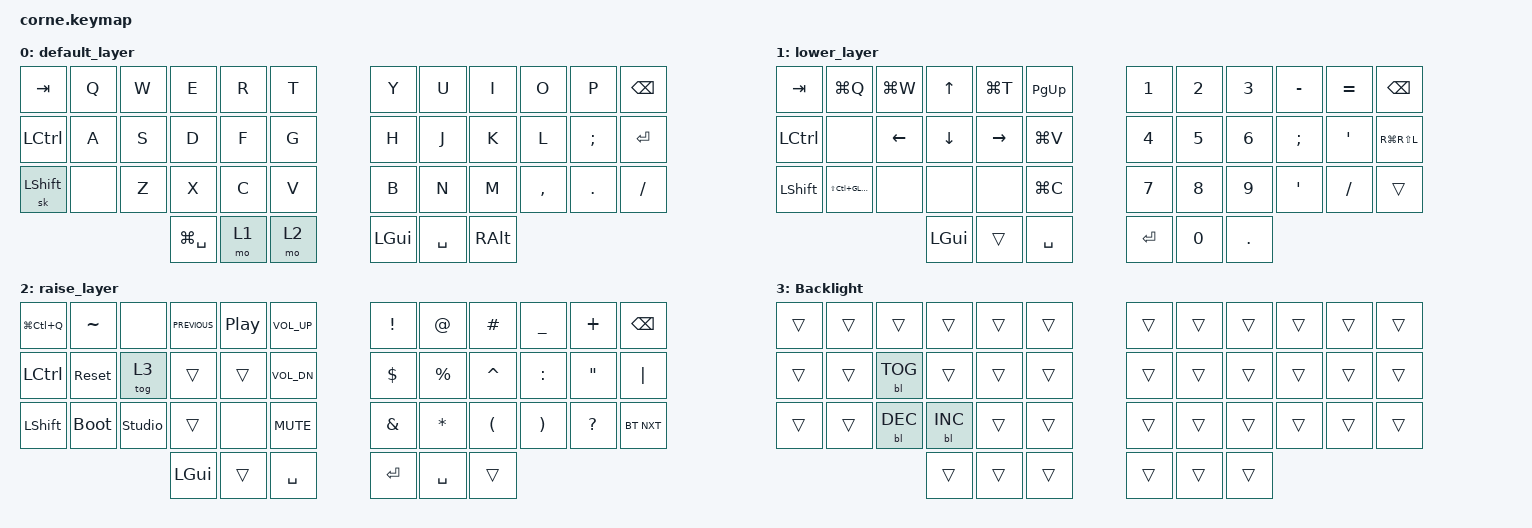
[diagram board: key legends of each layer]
/*
 * Copyright (c) 2020 The ZMK Contributors
 *
 * SPDX-License-Identifier: MIT
 */

#include <behaviors.dtsi>
#include <dt-bindings/zmk/backlight.h>
#include <dt-bindings/zmk/bt.h>
#include <dt-bindings/zmk/keys.h>

&led_strip { chain-length = <27>; };

&mmv {
    time-to-max-speed-ms = <150>;
    acceleration-exponent = <2>;
};

&msc { acceleration-exponent = <1>; };

&mt { tapping-term-ms = <250>; };

/ {
    combos {
        compatible = "zmk,combos";

        Escape {
            bindings = <&kp ESC>;
            key-positions = <1 0>;
        };
    };

    keymap {
        compatible = "zmk,keymap";

        default_layer {
            // -----------------------------------------------------------------------------------------
            // |  TAB |  Q  |  W  |  E  |  R  |  T  |   |  Y  |  U   |  I  |  O  |  P  | BKSP |
            // | CTRL |  A  |  S  |  D  |  F  |  G  |   |  H  |  J   |  K  |  L  |  ;  |  '   |
            // | SHFT |  Z  |  X  |  C  |  V  |  B  |   |  N  |  M   |  ,  |  .  |  /  | SHFT |
            //                    | GUI | LWR | ENT |   | SPC | RSE  | ALT |

            bindings = <
&kp TAB    &kp Q  &kp W  &kp E          &kp R  &kp T    &kp Y         &kp U      &kp I     &kp O      &kp P       &kp BSPC
&kp LCTRL  &kp A  &kp S  &kp D          &kp F  &kp G    &kp H         &kp J      &kp K     &kp L      &kp SEMI    &kp RET
&sk LSHFT  &none  &kp Z  &kp X          &kp C  &kp V    &kp B         &kp N      &kp M     &kp COMMA  &kp PERIOD  &kp SLASH
                         &kp LG(SPACE)  &mo 1  &mo 2    &kp LEFT_GUI  &kp SPACE  &kp RALT
            >;
        };

        lower_layer {
            // -----------------------------------------------------------------------------------------
            // |  TAB |  1    |  2  |  3  |  4  |  5  |   |  6  |  7  |  8  |  9  |  0  | BKSP |
            // | LCTRL| BTCLR | BT0 | BT1 | BT2 | BT3 |   | LFT | DWN |  UP | RGT |     |      |
            // | ESC  |       | HOME| PGUP| PGDN| END |   |     |     |     |     |     |      |
            //                      | GUI |     | SPC |   | ENT |     | ALT |

            bindings = <
&kp TAB         &kp LG(Q)          &kp LG(W)  &kp UP    &kp LG(T)  &kp PAGE_UP    &kp NUMBER_1  &kp NUMBER_2  &kp NUMBER_3  &kp MINUS      &kp EQUAL  &kp BSPC
&kp LCTRL       &none              &kp LEFT   &kp DOWN  &kp RIGHT  &kp LG(V)      &kp NUMBER_4  &kp NUMBER_5  &kp NUMBER_6  &kp SEMICOLON  &kp SQT    &kp RG(RS(L))
&kp LEFT_SHIFT  &kp LS(LC(GLOBE))  &none      &none     &none      &kp LG(C)      &kp N7        &kp N8        &kp N9        &kp SQT        &kp SLASH  &trans
                                              &kp LGUI  &trans     &kp SPACE      &kp RET       &kp NUMBER_0  &kp PERIOD
            >;
        };

        raise_layer {
            // -----------------------------------------------------------------------------------------
            // |  TAB |   !   |   @   |   #   |   $   |   %   |   |  ^  |  &  |  *  |  (  |  )  | BKSP |
            // | CTRL |RGB_TOG|RGB_HUI|RGB_SAI|RGB_VAI|       |   |  -  |  =  |  [  |  ]  |  \  |  `   |
            // | SHFT |RGB_MOD|RGB_HUD|RGB_SAD|RGB_VAD|QK_BOOT|   |  _  |  +  |  {  |  }  | "|" |  ~   |
            //                            | GUI |     |  SPC  |   | ENT |     | ALT |

            bindings = <
&kp LG(LC(Q))  &kp TILDE    &none           &kp C_PREVIOUS  &kp C_PLAY_PAUSE  &kp C_VOLUME_UP    &kp EXCLAMATION  &kp AT_SIGN   &kp HASH              &kp UNDERSCORE         &kp PLUS           &kp BSPC
&kp LCTRL      &sys_reset   &tog 3          &trans          &trans            &kp C_VOL_DN       &kp DOLLAR       &kp PERCENT   &kp CARET             &kp COLON              &kp DOUBLE_QUOTES  &kp PIPE
&kp LSHFT      &bootloader  &studio_unlock  &trans          &none             &kp K_MUTE         &kp AMPERSAND    &kp ASTERISK  &kp LEFT_PARENTHESIS  &kp RIGHT_PARENTHESIS  &kp QUESTION       &bt BT_NXT
                                            &kp LGUI        &trans            &kp SPACE          &kp RET          &kp SPACE     &trans
            >;
        };

        Backlight {
            bindings = <
&trans  &trans  &trans      &trans      &trans  &trans    &trans  &trans  &trans  &trans  &trans  &trans
&trans  &trans  &bl BL_TOG  &trans      &trans  &trans    &trans  &trans  &trans  &trans  &trans  &trans
&trans  &trans  &bl BL_DEC  &bl BL_INC  &trans  &trans    &trans  &trans  &trans  &trans  &trans  &trans
                            &trans      &trans  &trans    &trans  &trans  &trans
            >;
        };
    };
};
